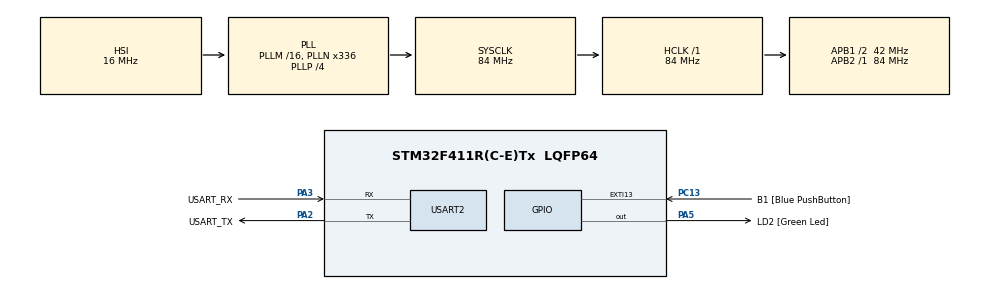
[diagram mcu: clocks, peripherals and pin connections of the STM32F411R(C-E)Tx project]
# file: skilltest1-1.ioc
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Mcu.Family=STM32F4
Mcu.Name=STM32F411R(C-E)Tx
Mcu.Package=LQFP64
NVIC.PriorityGroup=NVIC_PRIORITYGROUP_0
NVIC.USART2_IRQn=true\:0\:0\:false\:false\:true\:true\:true\:true
PA13.GPIO_Label=TMS
PA13.Mode=Serial_Wire
PA13.Signal=SYS_JTMS-SWDIO
PA14.GPIO_Label=TCK
PA14.Mode=Serial_Wire
PA14.Signal=SYS_JTCK-SWCLK
PA2.GPIO_Label=USART_TX
PA2.Mode=Asynchronous
PA2.Signal=USART2_TX
PA3.GPIO_Label=USART_RX
PA3.Mode=Asynchronous
PA3.Signal=USART2_RX
PA5.GPIO_Label=LD2 [Green Led]
PA5.Signal=GPIO_Output
PB3.GPIO_Label=SWO
PB3.Signal=SYS_JTDO-SWO
PC13-ANTI_TAMP.GPIO_Label=B1 [Blue PushButton]
PC13-ANTI_TAMP.GPIO_ModeDefaultEXTI=GPIO_MODE_IT_FALLING
PC13-ANTI_TAMP.Signal=GPXTI13
PC14-OSC32_IN.Mode=LSE-External-Oscillator
PC14-OSC32_IN.Signal=RCC_OSC32_IN
PC15-OSC32_OUT.Mode=LSE-External-Oscillator
PC15-OSC32_OUT.Signal=RCC_OSC32_OUT
PH0\ -\ OSC_IN.Mode=HSE-External-Clock-Source
PH0\ -\ OSC_IN.Signal=RCC_OSC_IN
PH1\ -\ OSC_OUT.Mode=HSE-External-Clock-Source
PH1\ -\ OSC_OUT.Signal=RCC_OSC_OUT
ProjectManager.HeapSize=0x200
ProjectManager.StackSize=0x400
ProjectManager.TargetToolchain=STM32CubeIDE
RCC.48MHZClocksFreq_Value=84000000
RCC.AHBFreq_Value=84000000
RCC.APB1CLKDivider=RCC_HCLK_DIV2
RCC.APB1Freq_Value=42000000
RCC.APB1TimFreq_Value=84000000
RCC.APB2Freq_Value=84000000
RCC.APB2TimFreq_Value=84000000
RCC.CortexFreq_Value=84000000
RCC.FLatency-AdvancedSettings=FLASH_LATENCY_2
RCC.HCLKFreq_Value=84000000
RCC.HSE_VALUE=8000000
RCC.HSI_VALUE=16000000
RCC.PLLN=336
RCC.PLLP=RCC_PLLP_DIV4
RCC.SYSCLKFreq_VALUE=84000000
RCC.SYSCLKSource=RCC_SYSCLKSOURCE_PLLCLK
RCC.VCOOutputFreq_Value=336000000
USART2.VirtualMode=VM_ASYNC
board=NUCLEO-F411RE

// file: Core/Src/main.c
/* USER CODE BEGIN Header */
/**
  ******************************************************************************
  * @file           : main.c
  * @brief          : Main program body
  ******************************************************************************
  * @attention
  *
  * Copyright (c) 2026 STMicroelectronics.
  * All rights reserved.
  *
  * This software is licensed under terms that can be found in the LICENSE file
  * in the root directory of this software component.
  * If no LICENSE file comes with this software, it is provided AS-IS.
  *
  ******************************************************************************
  */
/* USER CODE END Header */
#include "main.h"

UART_HandleTypeDef huart2;

void SystemClock_Config(void);
static void MX_GPIO_Init(void);
static void MX_USART2_UART_Init(void);

int main(void)
{

  /* MCU Configuration--------------------------------------------------------*/

  /* Reset of all peripherals, Initializes the Flash interface and the Systick. */
  HAL_Init();

  /* Configure the system clock */
  SystemClock_Config();

  /* Initialize all configured peripherals */
  MX_GPIO_Init();
  MX_USART2_UART_Init();

  /* Infinite loop */
  /* USER CODE BEGIN WHILE */
  uint32_t halfPeriodMs = 50;
  uint32_t delayMs = 100;
  uint32_t lastBlinkTick = HAL_GetTick();
  uint32_t lastPressTick = HAL_GetTick();
  uint32_t isPressed=0;
  char name[] = "Kerdlapana";
  uint32_t index=0;
  while (1)
  {
	  if(HAL_GetTick()-lastBlinkTick>=halfPeriodMs){
		  HAL_GPIO_TogglePin(GPIOA, GPIO_PIN_5);
		  lastBlinkTick=HAL_GetTick();
	  }
	  if(HAL_GetTick()-lastPressTick>=delayMs&&HAL_GPIO_ReadPin(GPIOC, GPIO_PIN_13)==GPIO_PIN_RESET&&!isPressed){
		  HAL_UART_Transmit_IT(&huart2, &name[index], 1);
		  index = (index+1)%9;
		  lastPressTick=HAL_GetTick();
		  isPressed=1;
	  }
	  if(HAL_GPIO_ReadPin(GPIOC, GPIO_PIN_13)==GPIO_PIN_SET){
		  isPressed=0;
	  }
    /* USER CODE END WHILE */

  }
}

void SystemClock_Config(void)
{
  RCC_OscInitTypeDef RCC_OscInitStruct = {0};
  RCC_ClkInitTypeDef RCC_ClkInitStruct = {0};

  /** Configure the main internal regulator output voltage
  */
  __HAL_RCC_PWR_CLK_ENABLE();
  __HAL_PWR_VOLTAGESCALING_CONFIG(PWR_REGULATOR_VOLTAGE_SCALE1);

  /** Initializes the RCC Oscillators according to the specified parameters
  * in the RCC_OscInitTypeDef structure.
  */
  RCC_OscInitStruct.OscillatorType = RCC_OSCILLATORTYPE_HSI;
  RCC_OscInitStruct.HSIState = RCC_HSI_ON;
  RCC_OscInitStruct.HSICalibrationValue = RCC_HSICALIBRATION_DEFAULT;
  RCC_OscInitStruct.PLL.PLLState = RCC_PLL_ON;
  RCC_OscInitStruct.PLL.PLLSource = RCC_PLLSOURCE_HSI;
  RCC_OscInitStruct.PLL.PLLM = 16;
  RCC_OscInitStruct.PLL.PLLN = 336;
  RCC_OscInitStruct.PLL.PLLP = RCC_PLLP_DIV4;
  RCC_OscInitStruct.PLL.PLLQ = 4;
  if (HAL_RCC_OscConfig(&RCC_OscInitStruct) != HAL_OK)
  {
    Error_Handler();
  }

  /** Initializes the CPU, AHB and APB buses clocks
  */
  RCC_ClkInitStruct.ClockType = RCC_CLOCKTYPE_HCLK|RCC_CLOCKTYPE_SYSCLK
                              |RCC_CLOCKTYPE_PCLK1|RCC_CLOCKTYPE_PCLK2;
  RCC_ClkInitStruct.SYSCLKSource = RCC_SYSCLKSOURCE_PLLCLK;
  RCC_ClkInitStruct.AHBCLKDivider = RCC_SYSCLK_DIV1;
  RCC_ClkInitStruct.APB1CLKDivider = RCC_HCLK_DIV2;
  RCC_ClkInitStruct.APB2CLKDivider = RCC_HCLK_DIV1;

  if (HAL_RCC_ClockConfig(&RCC_ClkInitStruct, FLASH_LATENCY_2) != HAL_OK)
  {
    Error_Handler();
  }
}

static void MX_USART2_UART_Init(void)
{

  huart2.Instance = USART2;
  huart2.Init.BaudRate = 115200;
  huart2.Init.WordLength = UART_WORDLENGTH_8B;
  huart2.Init.StopBits = UART_STOPBITS_1;
  huart2.Init.Parity = UART_PARITY_NONE;
  huart2.Init.Mode = UART_MODE_TX_RX;
  huart2.Init.HwFlowCtl = UART_HWCONTROL_NONE;
  huart2.Init.OverSampling = UART_OVERSAMPLING_16;
  if (HAL_UART_Init(&huart2) != HAL_OK)
  {
    Error_Handler();
  }

}

static void MX_GPIO_Init(void)
{
  GPIO_InitTypeDef GPIO_InitStruct = {0};

  /* GPIO Ports Clock Enable */
  __HAL_RCC_GPIOC_CLK_ENABLE();
  __HAL_RCC_GPIOH_CLK_ENABLE();
  __HAL_RCC_GPIOA_CLK_ENABLE();
  __HAL_RCC_GPIOB_CLK_ENABLE();

  /*Configure GPIO pin Output Level */
  HAL_GPIO_WritePin(LD2_GPIO_Port, LD2_Pin, GPIO_PIN_RESET);

  /*Configure GPIO pin : B1_Pin */
  GPIO_InitStruct.Pin = B1_Pin;
  GPIO_InitStruct.Mode = GPIO_MODE_IT_FALLING;
  GPIO_InitStruct.Pull = GPIO_NOPULL;
  HAL_GPIO_Init(B1_GPIO_Port, &GPIO_InitStruct);

  /*Configure GPIO pin : LD2_Pin */
  GPIO_InitStruct.Pin = LD2_Pin;
  GPIO_InitStruct.Mode = GPIO_MODE_OUTPUT_PP;
  GPIO_InitStruct.Pull = GPIO_NOPULL;
  GPIO_InitStruct.Speed = GPIO_SPEED_FREQ_LOW;
  HAL_GPIO_Init(LD2_GPIO_Port, &GPIO_InitStruct);

}

void Error_Handler(void)
{
  __disable_irq();
  while (1)
  {
  }
}
